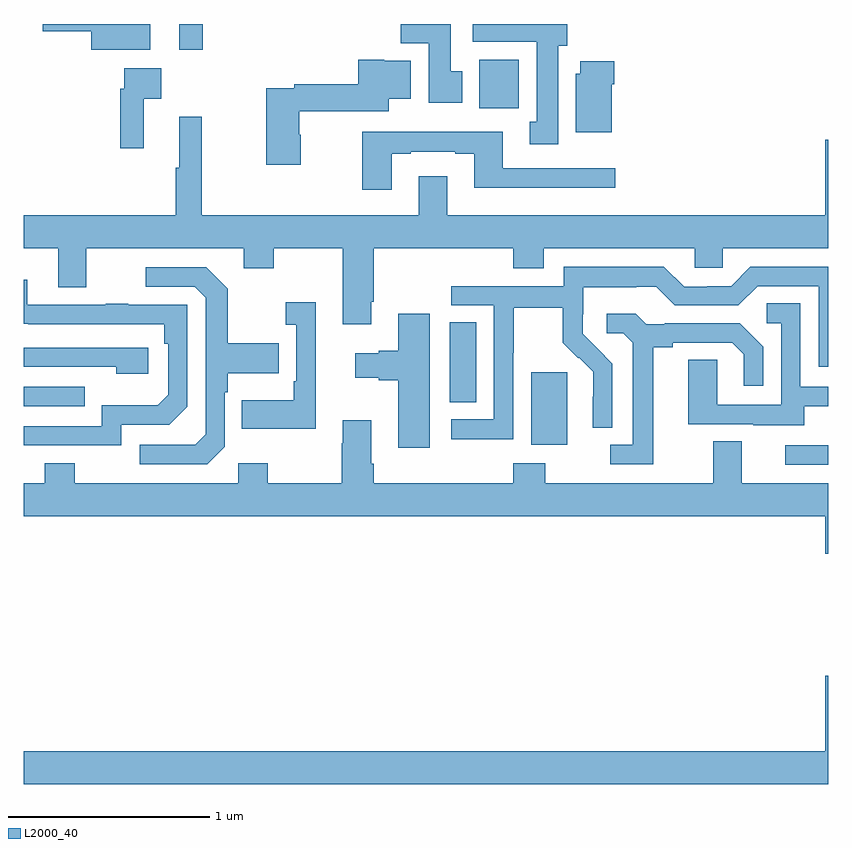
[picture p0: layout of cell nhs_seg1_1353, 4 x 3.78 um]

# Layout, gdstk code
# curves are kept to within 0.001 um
import gdstk
lib = gdstk.Library(unit=1e-6, precision=1e-09)
def R(c, l, rs):  # rectangles x0, y0, x1, y1
    for r in rs: c.add(gdstk.rectangle(r[:2], r[2:], *l))
def P(c, l, *ps):  # polygons
    for p in ps: c.add(gdstk.Polygon(p, *l))
L2000_40 = (2000, 40)

nhs_seg1_1353 = lib.new_cell('nhs_seg1_1353')
R(nhs_seg1_1353, L2000_40, [(188.787,532.008,189,532.104), (187.523,532.106,187.702,532.467), (185,532.299,185.303,532.395), (187.118,532.318,187.249,532.715), (187.265,533.78,187.462,534.022), (185.774,534.072,185.891,534.199)])
P(nhs_seg1_1353, L2000_40, [(187.18,533.964),(187.123,533.964),(187.123,534.199),(186.874,534.199),(186.874,534.104),(187.013,534.104),(187.013,533.808),(187.18,533.808)],
  [(185.629,534.199),(185.094,534.199),(185.094,534.164),(185.336,534.164),(185.336,534.071),(185.629,534.071)],
  [(187.657,534.09),(187.702,534.09),(187.702,534.199),(187.233,534.199),(187.233,534.11),(187.55,534.11),(187.55,533.714),(187.517,533.714),(187.517,533.601),(187.657,533.601)],
  [(186.378,533.649),(186.37,533.649),(186.37,533.764),(186.814,533.764),(186.814,533.828),(186.925,533.828),(186.925,534.016),(186.792,534.016),(186.792,534.022),(186.662,534.022),(186.662,533.9),(186.346,533.9),(186.346,533.88),(186.205,533.88),(186.205,533.499),(186.378,533.499)],
  [(187.924,533.9),(187.937,533.9),(187.937,534.013),(187.766,534.013),(187.766,533.952),(187.745,533.952),(187.745,533.66),(187.924,533.66)],
  [(185.597,533.828),(185.683,533.828),(185.683,533.98),(185.499,533.98),(185.499,533.876),(185.479,533.876),(185.479,533.58),(185.597,533.58)],
  [(186.727,532.819),(186.74,532.819),(186.74,533.084),(187.433,533.084),(187.433,532.985),(187.585,532.985),(187.585,533.084),(188.337,533.084),(188.337,532.986),(188.475,532.986),(188.475,533.084),(189,533.084),(189,533.623),(188.984,533.623),(188.984,533.248),(187.105,533.248),(187.105,533.443),(186.965,533.443),(186.965,533.248),(185.884,533.248),(185.884,533.737),(185.774,533.737),(185.774,533.484),(185.755,533.484),(185.755,533.248),(185,533.248),(185,533.084),(185.171,533.084),(185.171,532.89),(185.311,532.89),(185.311,533.084),(186.095,533.084),(186.095,532.985),(186.243,532.985),(186.243,533.084),(186.587,533.084),(186.587,532.707),(186.727,532.707)],
  [(186.829,533.553),(186.925,533.553),(186.925,533.565),(187.145,533.565),(187.145,533.553),(187.241,533.553),(187.241,533.384),(187.942,533.384),(187.942,533.481),(187.381,533.481),(187.381,533.662),(186.682,533.662),(186.682,533.376),(186.829,533.376)],
  [(187.434,532.564),(187.437,532.564),(187.437,532.788),(187.681,532.788),(187.681,532.613),(187.758,532.536),(187.761,532.539),(187.832,532.469),(187.832,532.346),(187.83,532.346),(187.83,532.192),(187.926,532.192),(187.926,532.51),(187.78,532.658),(187.78,532.755),(187.782,532.755),(187.782,532.889),(188.045,532.889),(188.045,532.893),(188.145,532.893),(188.238,532.8),(188.553,532.8),(188.649,532.896),(188.952,532.896),(188.952,532.494),(189,532.494),(189,532.992),(188.613,532.992),(188.517,532.896),(188.399,532.896),(188.399,532.893),(188.283,532.893),(188.183,532.993),(187.686,532.993),(187.686,532.896),(187.125,532.896),(187.125,532.8),(187.338,532.8),(187.338,532.233),(187.125,532.233),(187.125,532.135),(187.434,532.135)],
  [(186,532.098),(186,532.367),(186.013,532.367),(186.013,532.463),(186.269,532.463),(186.269,532.611),(186.013,532.611),(186.013,532.883),(185.907,532.989),(185.607,532.989),(185.607,532.893),(185.85,532.893),(185.904,532.839),(185.904,532.158),(185.853,532.107),(185.577,532.107),(185.577,532.011),(185.913,532.011)],
  [(185.484,532.206),(185.724,532.206),(185.814,532.296),(185.814,532.803),(185.519,532.803),(185.519,532.808),(185.407,532.808),(185.407,532.803),(185.017,532.803),(185.017,532.927),(185,532.927),(185,532.708),(185.698,532.707),(185.698,532.61),(185.718,532.61),(185.718,532.356),(185.665,532.303),(185.388,532.303),(185.388,532.2),(185,532.2),(185,532.104),(185.484,532.104)],
  [(186.452,532.816),(186.303,532.816),(186.303,532.703),(186.354,532.703),(186.354,532.423),(186.342,532.423),(186.342,532.327),(186.085,532.327),(186.085,532.187),(186.452,532.187)],
  [(188.881,532.299),(189,532.299),(189,532.395),(188.862,532.395),(188.862,532.811),(188.694,532.811),(188.694,532.71),(188.766,532.71),(188.766,532.305),(188.448,532.305),(188.448,532.529),(188.303,532.529),(188.303,532.209),(188.627,532.209),(188.627,532.205),(188.881,532.205)],
  [(188.131,532.592),(188.227,532.592),(188.227,532.614),(188.522,532.614),(188.579,532.557),(188.579,532.401),(188.676,532.401),(188.676,532.594),(188.56,532.71),(188.188,532.71),(188.188,532.707),(188.094,532.707),(188.042,532.759),(187.899,532.759),(187.899,532.662),(187.98,532.662),(188.027,532.615),(188.027,532.107),(187.917,532.107),(187.917,532.011),(188.131,532.011)],
  [(187.018,532.759),(186.863,532.759),(186.863,532.574),(186.764,532.574),(186.764,532.561),(186.648,532.561),(186.648,532.439),(186.764,532.439),(186.764,532.427),(186.863,532.427),(186.863,532.092),(187.018,532.092)],
  [(185.62,532.59),(185,532.59),(185,532.494),(185.459,532.494),(185.459,532.46),(185.62,532.46)],
  [(188.984,531.564),(189,531.564),(189,531.916),(188.569,531.916),(188.569,532.124),(188.429,532.124),(188.429,531.916),(187.593,531.916),(187.593,532.015),(187.433,532.015),(187.433,531.916),(186.74,531.916),(186.74,532.012),(186.727,532.012),(186.727,532.228),(186.587,532.228),(186.587,532.115),(186.58,532.115),(186.58,531.916),(186.213,531.916),(186.213,532.015),(186.066,532.015),(186.066,531.916),(185.253,531.916),(185.253,532.015),(185.105,532.015),(185.105,531.916),(185,531.916),(185,531.752),(188.984,531.752)],
  [(189,530.959),(188.984,530.959),(188.984,530.584),(185,530.584),(185,530.42),(189,530.42)])

lib.write_gds('nhs_seg1_1353.gds')
